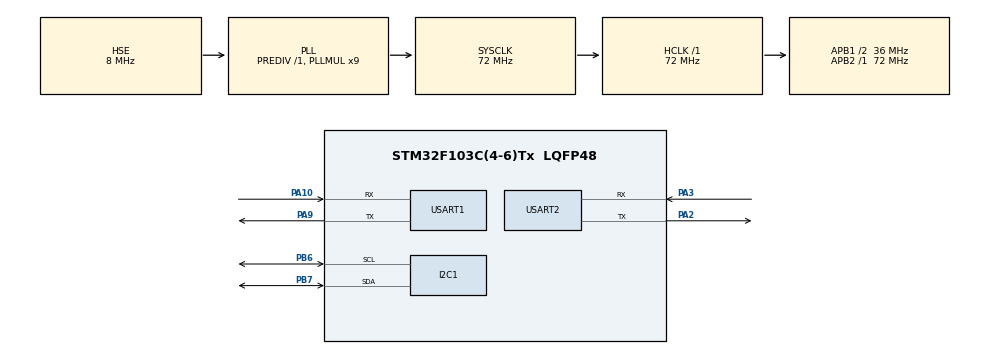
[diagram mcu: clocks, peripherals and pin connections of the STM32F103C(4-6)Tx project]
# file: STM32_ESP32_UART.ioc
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Dma.Request0=USART2_RX
Dma.Request1=USART2_TX
Dma.Request2=USART1_RX
Dma.Request3=USART1_TX
Dma.USART1_RX.2.Direction=DMA_PERIPH_TO_MEMORY
Dma.USART1_RX.2.Instance=DMA1_Channel5
Dma.USART1_RX.2.MemDataAlignment=DMA_MDATAALIGN_BYTE
Dma.USART1_RX.2.MemInc=DMA_MINC_ENABLE
Dma.USART1_RX.2.Mode=DMA_NORMAL
Dma.USART1_RX.2.PeriphDataAlignment=DMA_PDATAALIGN_BYTE
Dma.USART1_RX.2.PeriphInc=DMA_PINC_DISABLE
Dma.USART1_RX.2.Priority=DMA_PRIORITY_LOW
Dma.USART1_TX.3.Direction=DMA_MEMORY_TO_PERIPH
Dma.USART1_TX.3.Instance=DMA1_Channel4
Dma.USART1_TX.3.MemDataAlignment=DMA_MDATAALIGN_BYTE
Dma.USART1_TX.3.MemInc=DMA_MINC_ENABLE
Dma.USART1_TX.3.Mode=DMA_NORMAL
Dma.USART1_TX.3.PeriphDataAlignment=DMA_PDATAALIGN_BYTE
Dma.USART1_TX.3.PeriphInc=DMA_PINC_DISABLE
Dma.USART1_TX.3.Priority=DMA_PRIORITY_LOW
Dma.USART2_RX.0.Direction=DMA_PERIPH_TO_MEMORY
Dma.USART2_RX.0.Instance=DMA1_Channel6
Dma.USART2_RX.0.MemDataAlignment=DMA_MDATAALIGN_BYTE
Dma.USART2_RX.0.MemInc=DMA_MINC_ENABLE
Dma.USART2_RX.0.Mode=DMA_NORMAL
Dma.USART2_RX.0.PeriphDataAlignment=DMA_PDATAALIGN_BYTE
Dma.USART2_RX.0.PeriphInc=DMA_PINC_DISABLE
Dma.USART2_RX.0.Priority=DMA_PRIORITY_LOW
Dma.USART2_TX.1.Direction=DMA_MEMORY_TO_PERIPH
Dma.USART2_TX.1.Instance=DMA1_Channel7
Dma.USART2_TX.1.MemDataAlignment=DMA_MDATAALIGN_BYTE
Dma.USART2_TX.1.MemInc=DMA_MINC_ENABLE
Dma.USART2_TX.1.Mode=DMA_NORMAL
Dma.USART2_TX.1.PeriphDataAlignment=DMA_PDATAALIGN_BYTE
Dma.USART2_TX.1.PeriphInc=DMA_PINC_DISABLE
Dma.USART2_TX.1.Priority=DMA_PRIORITY_LOW
Mcu.Family=STM32F1
Mcu.Name=STM32F103C(4-6)Tx
Mcu.Package=LQFP48
NVIC.DMA1_Channel4_IRQn=true\:0\:0\:false\:false\:true\:false\:true\:true
NVIC.DMA1_Channel5_IRQn=true\:0\:0\:false\:false\:true\:false\:true\:true
NVIC.DMA1_Channel6_IRQn=true\:0\:0\:false\:false\:true\:false\:true\:true
NVIC.DMA1_Channel7_IRQn=true\:0\:0\:false\:false\:true\:false\:true\:true
NVIC.PriorityGroup=NVIC_PRIORITYGROUP_4
NVIC.USART1_IRQn=true\:0\:0\:false\:false\:true\:false\:true\:true
NVIC.USART2_IRQn=true\:0\:0\:false\:false\:true\:false\:true\:true
PA10.Mode=Asynchronous
PA10.Signal=USART1_RX
PA13.Mode=Serial_Wire
PA13.Signal=SYS_JTMS-SWDIO
PA14.Mode=Serial_Wire
PA14.Signal=SYS_JTCK-SWCLK
PA2.Mode=Asynchronous
PA2.Signal=USART2_TX
PA3.Mode=Asynchronous
PA3.Signal=USART2_RX
PA9.Mode=Asynchronous
PA9.Signal=USART1_TX
PB6.Mode=I2C
PB6.Signal=I2C1_SCL
PB7.Mode=I2C
PB7.Signal=I2C1_SDA
PC14-OSC32_IN.Mode=LSE-External-Oscillator
PC14-OSC32_IN.Signal=RCC_OSC32_IN
PC15-OSC32_OUT.Mode=LSE-External-Oscillator
PC15-OSC32_OUT.Signal=RCC_OSC32_OUT
PD0-OSC_IN.Mode=HSE-External-Oscillator
PD0-OSC_IN.Signal=RCC_OSC_IN
PD1-OSC_OUT.Mode=HSE-External-Oscillator
PD1-OSC_OUT.Signal=RCC_OSC_OUT
ProjectManager.HeapSize=0x200
ProjectManager.StackSize=0x400
ProjectManager.TargetToolchain=MDK-ARM V5.32
RCC.AHBFreq_Value=72000000
RCC.APB1CLKDivider=RCC_HCLK_DIV2
RCC.APB1Freq_Value=36000000
RCC.APB1TimFreq_Value=72000000
RCC.APB2Freq_Value=72000000
RCC.APB2TimFreq_Value=72000000
RCC.HCLKFreq_Value=72000000
RCC.PLLMUL=RCC_PLL_MUL9
RCC.PLLSourceVirtual=RCC_PLLSOURCE_HSE
RCC.RTCClockSelection=RCC_RTCCLKSOURCE_LSE
RCC.SYSCLKFreq_VALUE=72000000
RCC.SYSCLKSource=RCC_SYSCLKSOURCE_PLLCLK
RCC.USBFreq_Value=72000000
USART1.VirtualMode=VM_ASYNC
USART2.VirtualMode=VM_ASYNC
VP_RTC_VS_RTC_Activate.Mode=RTC_Enabled
board=custom

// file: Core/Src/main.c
/* USER CODE BEGIN Header */
/**
 ******************************************************************************
 * @file           : main.c
 * @brief          : Main program body
 ******************************************************************************
 * @attention
 *
 * Copyright (c) 2025 STMicroelectronics.
 * All rights reserved.
 *
 * This software is licensed under terms that can be found in the LICENSE file
 * in the root directory of this software component.
 * If no LICENSE file comes with this software, it is provided AS-IS.
 *
 ******************************************************************************
 */
/* USER CODE END Header */
#include "main.h"
#include "dma.h"
#include "gpio.h"
#include "i2c.h"
#include "rtc.h"
#include "usart.h"

/* USER CODE BEGIN Includes */

// #include "OLED.h"
#include "stdio.h"

#include <string.h>

/* USER CODE END Includes */

/* USER CODE BEGIN PV */

uint8_t serial1_rxbuf[50];     // UART1 接收缓冲区
uint8_t serial2_rxbuf[50];     // UART2 接收缓冲区
volatile uint8_t rx1_len = 0;  // UART1 接收数据长度
volatile uint8_t rx2_len = 0;  // UART2 接收数据长度
volatile uint8_t rx1_flag = 0; // UART1 接收完成标志
volatile uint8_t rx2_flag = 0; // UART2 接收完成标志
/* Private variables ---------------------------------------------------------*/
extern UART_HandleTypeDef huart1;
extern UART_HandleTypeDef huart2;
extern DMA_HandleTypeDef hdma_usart1_rx;
extern DMA_HandleTypeDef hdma_usart1_tx;
extern DMA_HandleTypeDef hdma_usart2_rx; // 确保此行存在
extern DMA_HandleTypeDef hdma_usart2_tx;
/* USER CODE END PV */

void SystemClock_Config(void);
/* USER CODE BEGIN PFP */
void HAL_UARTEx_RxEventCallback(UART_HandleTypeDef *huart, uint16_t Size) {
  if (huart->Instance == USART1) {
    rx1_len = Size; // 记录接收到的数据长度
    rx1_flag = 1;   // 设置接收完成标志
    HAL_UARTEx_ReceiveToIdle_DMA(&huart1, serial1_rxbuf,
                                 sizeof(serial1_rxbuf)); // 重新启动 DMA 接收
    __HAL_DMA_DISABLE_IT(&hdma_usart1_rx, DMA_IT_HT);    // 禁用半传输中断
  } else if (huart->Instance == USART2) {
    rx2_len = Size; // 记录接收到的数据长度
    rx2_flag = 1;   // 设置接收完成标志
    HAL_UARTEx_ReceiveToIdle_DMA(&huart2, serial2_rxbuf,
                                 sizeof(serial2_rxbuf)); // 重新启动 DMA 接收
    __HAL_DMA_DISABLE_IT(&hdma_usart2_rx, DMA_IT_HT);    // 禁用半传输中断
  }
}

void HAL_UART_ErrorCallback(UART_HandleTypeDef *huart) {
  // 错误处理，重新启动 DMA 接收
  if (huart->Instance == USART1) {
    HAL_UARTEx_ReceiveToIdle_DMA(&huart1, serial1_rxbuf, sizeof(serial1_rxbuf));
    __HAL_DMA_DISABLE_IT(&hdma_usart1_rx, DMA_IT_HT);
  } else if (huart->Instance == USART2) {
    HAL_UARTEx_ReceiveToIdle_DMA(&huart2, serial2_rxbuf, sizeof(serial2_rxbuf));
    __HAL_DMA_DISABLE_IT(&hdma_usart2_rx, DMA_IT_HT);
  }
}

/* USER CODE END PFP */

/* USER CODE BEGIN 0 */
int fputc(int ch, FILE *f) // printf
{
  HAL_UART_Transmit(&huart1, (uint8_t *)&ch, 1, HAL_MAX_DELAY); // printf
  // HAL_UART_Transmit_DMA(&huart1, (uint8_t *)&ch, 1);
  return (ch);
}

int fgetc(FILE *f) {
  uint8_t ch;
  HAL_UART_Receive(&huart1, (uint8_t *)&ch, 1, HAL_MAX_DELAY); // scanf
  return ch;
}
/* USER CODE END 0 */

int main(void) {

  /* MCU Configuration--------------------------------------------------------*/

  /* Reset of all peripherals, Initializes the Flash interface and the Systick.
   */
  HAL_Init();

  /* Configure the system clock */
  SystemClock_Config();

  /* Initialize all configured peripherals */
  MX_GPIO_Init();
  MX_DMA_Init();
  MX_I2C1_Init();
  MX_USART2_UART_Init();
  MX_RTC_Init();
  MX_USART1_UART_Init();
  /* USER CODE BEGIN 2 */
  // 启动 DMA 接收
  HAL_UARTEx_ReceiveToIdle_DMA(&huart1, serial1_rxbuf, sizeof(serial1_rxbuf));
  __HAL_DMA_DISABLE_IT(&hdma_usart1_rx, DMA_IT_HT);
  HAL_UARTEx_ReceiveToIdle_DMA(&huart2, serial2_rxbuf, sizeof(serial2_rxbuf));
  __HAL_DMA_DISABLE_IT(&hdma_usart2_rx, DMA_IT_HT);
  /* USER CODE END 2 */

  /* Infinite loop */
  /* USER CODE BEGIN WHILE */
  char tx_data[] = "Hello from STM32F103\r\n";
  while (1) {
    // 每秒发送数据到 ESP32 (通过 UART2)
    HAL_UART_Transmit_DMA(&huart2, (uint8_t *)tx_data, strlen(tx_data));
    printf("Sent: %s", tx_data);

    // 检查 UART1 接收到的数据
    if (rx1_flag) {
      serial1_rxbuf[rx1_len] = '\0'; // 添加字符串终止符
      printf("Received from ESP32 (UART1): %s\r\n", serial1_rxbuf);
      rx1_flag = 0; // 清除标志
    }

    // 检查 UART2 接收到的数据
    if (rx2_flag) {
      serial2_rxbuf[rx2_len] = '\0'; // 添加字符串终止符
      printf("Received from ESP32 (UART2): %s\r\n", serial2_rxbuf);
      rx2_flag = 0; // 清除标志
    }

    HAL_Delay(1000); // 每秒发送一次
    /* USER CODE END WHILE */

  }
}

void SystemClock_Config(void) {
  RCC_OscInitTypeDef RCC_OscInitStruct = {0};
  RCC_ClkInitTypeDef RCC_ClkInitStruct = {0};
  RCC_PeriphCLKInitTypeDef PeriphClkInit = {0};

  /** Initializes the RCC Oscillators according to the specified parameters
   * in the RCC_OscInitTypeDef structure.
   */
  RCC_OscInitStruct.OscillatorType =
      RCC_OSCILLATORTYPE_HSE | RCC_OSCILLATORTYPE_LSE;
  RCC_OscInitStruct.HSEState = RCC_HSE_ON;
  RCC_OscInitStruct.HSEPredivValue = RCC_HSE_PREDIV_DIV1;
  RCC_OscInitStruct.LSEState = RCC_LSE_ON;
  RCC_OscInitStruct.HSIState = RCC_HSI_ON;
  RCC_OscInitStruct.PLL.PLLState = RCC_PLL_ON;
  RCC_OscInitStruct.PLL.PLLSource = RCC_PLLSOURCE_HSE;
  RCC_OscInitStruct.PLL.PLLMUL = RCC_PLL_MUL9;
  if (HAL_RCC_OscConfig(&RCC_OscInitStruct) != HAL_OK) {
    Error_Handler();
  }

  /** Initializes the CPU, AHB and APB buses clocks
   */
  RCC_ClkInitStruct.ClockType = RCC_CLOCKTYPE_HCLK | RCC_CLOCKTYPE_SYSCLK |
                                RCC_CLOCKTYPE_PCLK1 | RCC_CLOCKTYPE_PCLK2;
  RCC_ClkInitStruct.SYSCLKSource = RCC_SYSCLKSOURCE_PLLCLK;
  RCC_ClkInitStruct.AHBCLKDivider = RCC_SYSCLK_DIV1;
  RCC_ClkInitStruct.APB1CLKDivider = RCC_HCLK_DIV2;
  RCC_ClkInitStruct.APB2CLKDivider = RCC_HCLK_DIV1;

  if (HAL_RCC_ClockConfig(&RCC_ClkInitStruct, FLASH_LATENCY_2) != HAL_OK) {
    Error_Handler();
  }
  PeriphClkInit.PeriphClockSelection = RCC_PERIPHCLK_RTC;
  PeriphClkInit.RTCClockSelection = RCC_RTCCLKSOURCE_LSE;
  if (HAL_RCCEx_PeriphCLKConfig(&PeriphClkInit) != HAL_OK) {
    Error_Handler();
  }
}

void Error_Handler(void) {
  /* USER CODE BEGIN Error_Handler_Debug */
  /* User can add his own implementation to report the HAL error return state
   */
  __disable_irq();
  while (1) {
  }
  /* USER CODE END Error_Handler_Debug */
}

#ifdef USE_FULL_ASSERT
/**
 * @brief  Reports the name of the source file and the source line number
 *         where the assert_param error has occurred.
 * @param  file: pointer to the source file name
 * @param  line: assert_param error line source number
 * @retval None
 */
void assert_failed(uint8_t *file, uint32_t line) {
  /* USER CODE BEGIN 6 */
  /* User can add his own implementation to report the file name and line
     number, ex: printf("Wrong parameters value: file %s on line %d\r\n",
     file, line) */
  /* USER CODE END 6 */
}
#endif /* USE_FULL_ASSERT */
